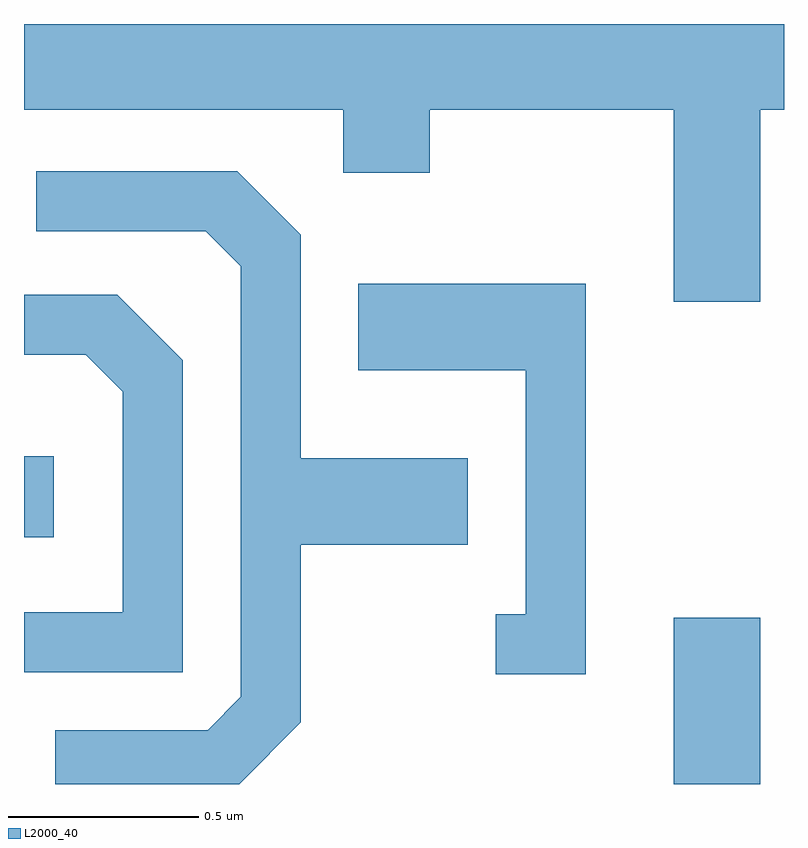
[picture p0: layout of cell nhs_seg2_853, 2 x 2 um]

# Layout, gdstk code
import gdstk
lib = gdstk.Library(unit=1e-6, precision=1e-09)
def R(c, l, rs):  # rectangles x0, y0, x1, y1
    for r in rs: c.add(gdstk.rectangle(r[:2], r[2:], *l))
def P(c, l, *ps):  # polygons
    for p in ps: c.add(gdstk.Polygon(p, *l))
L2000_40 = (2000, 40)

nhs_seg2_853 = lib.new_cell('nhs_seg2_853')
R(nhs_seg2_853, L2000_40, [(193.321,1008.802,193.549,1009.239), (191.611,1009.451,191.689,1009.664)])
P(nhs_seg2_853, L2000_40, [(193.549,1010.576),(193.611,1010.576),(193.611,1010.802),(191.611,1010.802),(191.611,1010.576),(192.451,1010.576),(192.451,1010.411),(192.679,1010.411),(192.679,1010.576),(193.321,1010.576),(193.321,1010.071),(193.549,1010.071)],
  [(192.339,1008.964),(192.339,1009.431),(192.779,1009.431),(192.779,1009.659),(192.339,1009.659),(192.339,1010.247),(192.172,1010.414),(191.643,1010.414),(191.643,1010.256),(192.089,1010.256),(192.181,1010.164),(192.181,1009.032),(192.094,1008.944),(191.693,1008.944),(191.693,1008.802),(192.178,1008.802)],
  [(193.089,1010.119),(192.491,1010.119),(192.491,1009.891),(192.931,1009.891),(192.931,1009.249),(192.853,1009.249),(192.853,1009.091),(193.089,1009.091)],
  [(192.029,1009.917),(191.857,1010.089),(191.611,1010.089),(191.611,1009.931),(191.774,1009.931),(191.871,1009.834),(191.871,1009.254),(191.611,1009.254),(191.611,1009.096),(192.029,1009.096)])

lib.write_gds('nhs_seg2_853.gds')
